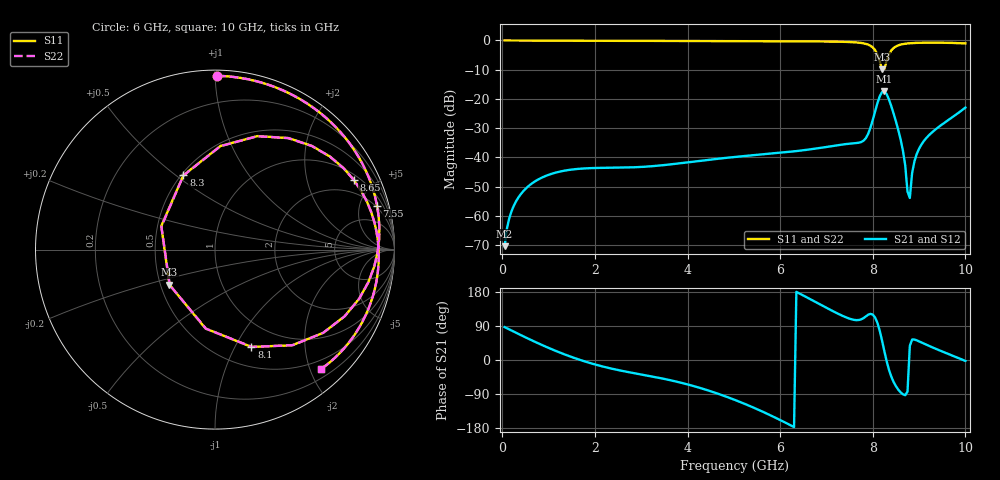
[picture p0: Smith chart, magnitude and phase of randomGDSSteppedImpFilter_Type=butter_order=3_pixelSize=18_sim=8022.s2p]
! freq	dB(S11)	phase(S11)	dB(S12)	phase(S12)
!  dB(S21)	phase(S21)	dB(S22)	phase(S22)
!S-par simulation data
#  GHz  S  DB  R 50
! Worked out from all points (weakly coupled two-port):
!   200 points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, 50 MHz to 10 GHz, reference 50 ohm
!   highest |S21| = -17.41 dB at 8.25 GHz (marker M1); lowest = -70.3 dB at 50 MHz (marker M2)
!   lowest |S11| = -9.9 dB at 8.2 GHz (marker M3), VSWR 1.94, Z = 27.9 - j12.1 ohm
!   |S11| at or under -10 dB: nowhere
!   |S22| runs from -9.9 to 0.0 dB; largest |S21 - S12| = 0
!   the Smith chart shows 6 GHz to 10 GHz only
!   S11 on the Smith chart (normalised r, x): 6 GHz: 0.03, +1.01; 7.55 GHz: 1.78, +7.04; 8.1 GHz: 0.72, -1.17; 8.3 GHz: 0.51, +0.53; 8.65 GHz: 1.23, +3.82; 10 GHz: 0.34, -2.18
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0.05  -0.00 -3.1  -70.32 86.8  -70.32 86.8  -0.00 -3.1
0.2  -0.02 -12.3  -58.34 77.7  -58.34 77.7  -0.02 -12.3
0.5  -0.04 -30.3  -50.76 59.8  -50.76 59.8  -0.04 -30.3
1.1  -0.08 -64.8  -45.41 26.7  -45.41 26.7  -0.08 -64.8
1.75  -0.11 -98.6  -43.77 -2.6  -43.77 -2.6  -0.11 -98.6
3.4  -0.17 -170.1  -42.75 -47.5  -42.75 -47.5  -0.17 -170.2
5.05  -0.23 126.8  -39.78 -106.7  -39.78 -106.7  -0.23 126.7
6  -0.28 89.3  -38.40 -158.4  -38.40 -158.4  -0.28 89.3
6.7  -0.33 59.7  -37.12 157.3  -37.12 157.3  -0.33 59.6
7.55  -0.58 15.2  -35.21 107.1  -35.21 107.1  -0.58 15.2
7.9  -1.43 -18.9  -31.95 119.5  -31.95 119.5  -1.43 -18.9
8.1  -4.75 -69.5  -21.45 98.1  -21.45 98.1  -4.73 -69.2
8.2  -9.88 -142.4  -17.64 51.5  -17.64 51.5  -9.88 -141.7
8.25  -9.71 156.3  -17.41 23.3  -17.41 23.3  -9.76 156.7
8.3  -6.93 113.0  -18.38 -3.3  -18.38 -3.3  -6.97 113.1
8.35  -4.76 87.0  -20.19 -25.8  -20.19 -25.8  -4.78 87.0
8.65  -1.26 26.8  -37.55 -90.5  -37.55 -90.5  -1.26 26.7
8.75  -1.03 17.4  -51.66 -83.5  -51.66 -83.5  -1.03 17.4
8.8  -0.96 13.4  -53.84 37.4  -53.84 37.4  -0.96 13.4
8.9  -0.86 6.3  -41.30 53.9  -41.30 53.9  -0.86 6.2
9.05  -0.78 -2.9  -35.60 46.4  -35.60 46.4  -0.78 -3.0
10  -1.02 -48.5  -22.93 -2.4  -22.93 -2.4  -1.02 -48.5
